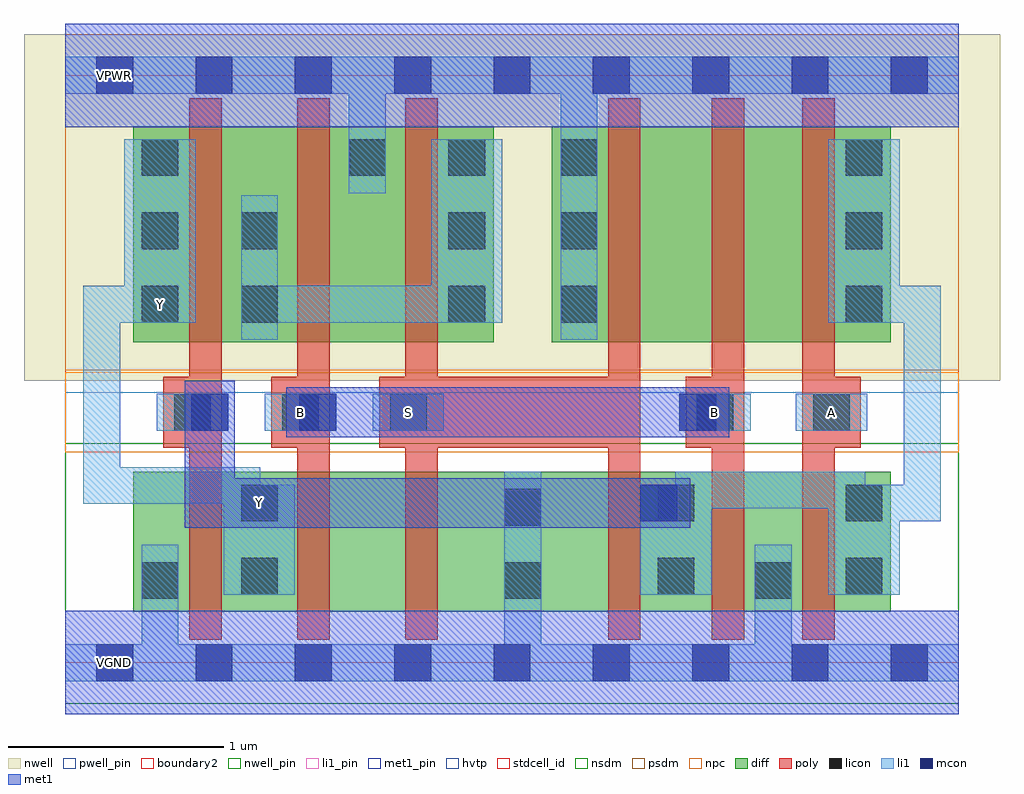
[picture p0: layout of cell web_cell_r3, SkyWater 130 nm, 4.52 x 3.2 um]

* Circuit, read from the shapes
.subckt web_cell_r3 A B S VGND VNB VPB VPWR Y
XM1 Y n1 VGND VNB sky130_fd_pr__nfet_01v8 w=0.65 l=0.15
XM2 n2 B Y VNB sky130_fd_pr__nfet_01v8 w=0.65 l=0.15
XM3 VGND S n2 VNB sky130_fd_pr__nfet_01v8 w=0.65 l=0.15
XM4 n1 S VGND VNB sky130_fd_pr__nfet_01v8 w=0.65 l=0.15
XM5 VGND B n1 VNB sky130_fd_pr__nfet_01v8 w=0.65 l=0.15
XM6 n1 A VGND VNB sky130_fd_pr__nfet_01v8 w=0.65 l=0.15
XM7 n3 n1 Y VPB sky130_fd_pr__pfet_01v8_hvt w=1 l=0.15
XM8 VPWR B n3 VPB sky130_fd_pr__pfet_01v8_hvt w=1 l=0.15
XM9 n3 S VPWR VPB sky130_fd_pr__pfet_01v8_hvt w=1 l=0.15
XM10 n4 S VPWR VPB sky130_fd_pr__pfet_01v8_hvt w=1 l=0.15
XM11 n5 B n4 VPB sky130_fd_pr__pfet_01v8_hvt w=1 l=0.15
XM12 n1 A n5 VPB sky130_fd_pr__pfet_01v8_hvt w=1 l=0.15
.ends

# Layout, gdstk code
import gdstk
lib = gdstk.Library(unit=1e-6, precision=1e-09)
def R(c, l, rs):  # rectangles x0, y0, x1, y1
    for r in rs: c.add(gdstk.rectangle(r[:2], r[2:], *l))
def A(c, l, x, y, w, h, nx, ny, dx, dy):  # array of equal rectangles
    R(c, l, [(x+i*dx, y+j*dy, x+i*dx+w, y+j*dy+h) for i in range(nx) for j in range(ny)])
nwell_pin = (64, 16)
nwell = (64, 20)
diff = (65, 20)
poly = (66, 20)
licon = (66, 44)
li1_pin = (67, 16)
li1 = (67, 20)
mcon = (67, 44)
met1_pin = (68, 16)
met1 = (68, 20)
hvtp = (78, 44)
stdcell_id = (81, 4)
nsdm = (93, 44)
psdm = (94, 20)
npc = (95, 20)
pwell_pin = (122, 16)
boundary2 = (236, 0)

web_cell_r3 = lib.new_cell('web_cell_r3')
R(web_cell_r3, nwell_pin, [(0.145,2.635,0.315,2.805)])
R(web_cell_r3, nwell, [(-0.19,1.305,4.33,2.91)])
R(web_cell_r3, diff, [(0.315,0.235,0.9,0.885), (0.9,0.235,1.4,0.885), (1.4,0.235,2.12,0.885), (2.12,0.235,2.83,0.885), (2.83,0.235,3.28,0.885), (3.28,0.235,3.825,0.885), (0.315,1.485,0.9,2.485), (0.9,1.485,1.4,2.485), (1.4,1.485,1.985,2.485), (2.255,1.485,2.83,2.485), (2.83,1.485,3.28,2.485), (3.28,1.485,3.825,2.485)])
A(web_cell_r3, poly, 0.575, 0.105, 0.15, 2.51, 3, 1, 0.5, 0)
A(web_cell_r3, poly, 0.455, 0.995, 0.27, 0.33, 3, 1, 0.5, 0)
R(web_cell_r3, poly, [(2.515,0.105,2.665,2.615), (2.995,0.105,3.145,2.615), (3.415,0.105,3.565,2.615), (1.575,0.995,2.665,1.325), (2.875,0.995,3.145,1.325), (3.415,0.995,3.685,1.325)])
A(web_cell_r3, licon, 0.505, 1.075, 0.17, 0.17, 3, 1, 0.5, 0)
A(web_cell_r3, licon, 0.355, 1.575, 0.17, 0.17, 1, 3, 0, 0.34)
A(web_cell_r3, licon, 1.775, 1.575, 0.17, 0.17, 1, 3, 0, 0.34)
A(web_cell_r3, licon, 2.295, 1.575, 0.17, 0.17, 1, 3, 0, 0.34)
A(web_cell_r3, licon, 3.615, 1.575, 0.17, 0.17, 1, 3, 0, 0.34)
R(web_cell_r3, licon, [(0.355,0.295,0.525,0.465), (2.035,0.295,2.205,0.465), (3.195,0.295,3.365,0.465), (0.815,0.315,0.985,0.485), (2.745,0.315,2.915,0.485), (3.615,0.315,3.785,0.485), (2.035,0.635,2.205,0.805), (0.815,0.655,0.985,0.825), (2.745,0.655,2.915,0.825), (3.615,0.655,3.785,0.825), (2.925,1.075,3.095,1.245), (3.465,1.075,3.635,1.245), (0.815,1.575,0.985,1.745), (0.815,1.915,0.985,2.085), (1.315,2.255,1.485,2.425)])
R(web_cell_r3, li1_pin, [(0.815,0.655,0.985,0.825), (1.005,1.075,1.175,1.245), (1.505,1.075,1.675,1.245), (2.925,1.075,3.095,1.245), (3.465,1.075,3.635,1.245), (0.355,1.575,0.525,1.745)])
A(web_cell_r3, li1, 0.425, 1.075, 0.33, 0.17, 3, 1, 0.5, 0)
R(web_cell_r3, li1, [(0,-0.085,4.14,0.085), (0.355,-0.085,0.525,0.545), (2.035,-0.085,2.205,0.545), (3.195,-0.085,3.365,0.545), (2.035,0.295,2.205,0.885), (0.735,0.315,1.065,0.825), (2.665,0.315,2.995,0.825), (3.535,0.315,3.865,0.825), (0.735,0.655,1.065,0.825), (0.735,0.655,0.905,0.905), (2.665,0.655,2.995,0.825), (2.825,0.655,2.995,0.885), (3.535,0.655,3.865,0.825), (3.535,0.655,3.705,0.885), (3.695,0.655,4.055,0.825), (3.705,0.655,3.865,0.825), (3.705,0.655,3.865,0.825), (3.705,0.655,3.865,0.825), (3.705,0.655,3.865,0.825), (3.705,0.655,3.865,0.825), (3.705,0.655,3.865,0.825), (3.705,0.655,3.865,0.825), (3.705,0.655,3.865,0.825), (3.705,0.655,3.865,0.825), (3.705,0.655,3.865,0.825), (3.705,0.655,3.865,0.825), (3.705,0.655,3.865,0.825), (3.705,0.655,3.865,0.825), (3.705,0.655,3.865,0.825), (3.865,0.655,3.885,0.825), (3.865,0.655,3.885,0.825), (3.865,0.655,3.885,0.825), (3.865,0.655,3.885,0.825), (3.865,0.655,3.885,0.825), (3.865,0.655,3.885,0.825), (3.865,0.655,3.885,0.825), (3.865,0.655,3.885,0.825), (3.865,0.655,3.885,0.825), (3.865,0.655,3.885,0.825), (3.865,0.655,3.885,0.825), (3.865,0.655,3.885,0.825), (3.865,0.655,3.885,0.825), (3.865,0.655,3.885,0.825), (3.865,0.655,3.885,0.825), (3.865,0.655,3.885,0.825), (3.885,0.655,4.055,1.745), (2.825,0.715,3.705,0.885), (3.705,0.715,3.865,0.825), (3.705,0.715,3.865,0.825), (3.705,0.715,3.865,0.825), (3.705,0.715,3.865,0.825), (3.705,0.715,3.865,0.825), (3.705,0.715,3.865,0.825), (3.705,0.715,3.865,0.825), (3.705,0.715,3.865,0.825), (3.705,0.715,3.865,0.825), (3.705,0.715,3.865,0.825), (3.705,0.715,3.865,0.825), (3.705,0.715,3.865,0.825), (3.705,0.715,3.865,0.825), (3.705,0.715,3.865,0.825), (3.705,0.715,3.865,0.825), (3.705,0.715,3.865,0.825), (3.705,0.715,3.865,0.825), (3.705,0.715,3.865,0.825), (3.865,0.715,3.885,0.825), (3.865,0.715,3.885,0.825), (3.865,0.715,3.885,0.825), (3.865,0.715,3.885,0.825), (3.865,0.715,3.885,0.825), (3.865,0.715,3.885,0.825), (3.865,0.715,3.885,0.825), (3.865,0.715,3.885,0.825), (0.085,0.735,0.255,1.745), (0.085,0.735,0.905,0.905), (2.845,1.075,3.175,1.245), (3.385,1.075,3.715,1.245), (0.815,1.495,0.985,1.825), (2.295,1.495,2.465,2.085), (0.085,1.575,0.445,1.745), (0.255,1.575,0.275,1.745), (0.255,1.575,0.275,1.745), (0.255,1.575,0.275,1.745), (0.255,1.575,0.275,1.745), (0.255,1.575,0.275,1.745), (0.255,1.575,0.275,1.745), (0.255,1.575,0.275,1.745), (0.255,1.575,0.275,1.745), (0.275,1.575,0.605,1.745), (0.275,1.575,0.605,2.085), (0.815,1.575,0.985,2.165), (0.815,1.575,1.865,1.745), (1.695,1.575,2.025,1.745), (1.695,1.575,2.025,2.085), (3.535,1.575,3.865,1.745), (3.535,1.575,3.865,2.085), (3.695,1.575,4.055,1.745), (3.865,1.575,3.885,1.745), (3.865,1.575,3.885,1.745), (3.865,1.575,3.885,1.745), (3.865,1.575,3.885,1.745), (3.865,1.575,3.885,1.745), (3.865,1.575,3.885,1.745), (3.865,1.575,3.885,1.745), (3.865,1.575,3.885,1.745), (2.295,1.835,2.465,2.425), (0.275,1.915,0.605,2.425), (1.695,1.915,2.025,2.425), (3.535,1.915,3.865,2.425), (2.295,2.085,2.465,2.175), (2.295,2.085,2.465,2.175), (2.295,2.085,2.465,2.175), (2.295,2.085,2.465,2.175), (1.315,2.175,1.485,2.805), (2.295,2.175,2.465,2.805), (0,2.635,4.14,2.805)])
A(web_cell_r3, mcon, 0.145, -0.085, 0.17, 0.17, 9, 2, 0.46, 2.72)
R(web_cell_r3, mcon, [(2.665,0.655,2.835,0.825), (0.585,1.075,0.755,1.245), (1.085,1.075,1.255,1.245), (2.845,1.075,3.015,1.245)])
R(web_cell_r3, met1_pin, [(0.145,-0.085,0.315,0.085), (0.145,2.635,0.315,2.805)])
R(web_cell_r3, met1, [(0,-0.24,4.14,0.24), (0.555,0.625,0.785,1.275), (0.555,0.625,2.865,0.855), (2.605,0.625,2.895,0.855), (0.555,1.015,0.785,1.305), (1.025,1.045,1.315,1.275), (1.055,1.045,3.045,1.275), (2.785,1.045,3.075,1.275), (0,2.48,4.14,2.96)])
R(web_cell_r3, hvtp, [(0,1.25,4.14,2.72)])
R(web_cell_r3, stdcell_id, [(0,0,4.14,2.72)])
R(web_cell_r3, nsdm, [(0,-0.19,4.14,1.015)])
R(web_cell_r3, psdm, [(0,1.355,4.14,2.91)])
R(web_cell_r3, npc, [(0,0.975,4.14,1.345)])
R(web_cell_r3, pwell_pin, [(0.145,-0.085,0.315,0.085)])
R(web_cell_r3, boundary2, [(0,0,4.14,2.72)])
web_cell_r3.add(gdstk.Label('A', (3.55,1.16), layer=67, texttype=5))
web_cell_r3.add(gdstk.Label('B', (1.09,1.16), layer=67, texttype=5))
web_cell_r3.add(gdstk.Label('B', (3.01,1.16), layer=67, texttype=5))
web_cell_r3.add(gdstk.Label('S', (1.59,1.16), layer=67, texttype=5))
web_cell_r3.add(gdstk.Label('Y', (0.9,0.74), layer=67, texttype=5))
web_cell_r3.add(gdstk.Label('Y', (0.44,1.66), layer=67, texttype=5))
web_cell_r3.add(gdstk.Label('VGND', (0.23,0), layer=68, texttype=5))
web_cell_r3.add(gdstk.Label('VPWR', (0.23,2.72), layer=68, texttype=5))
web_cell_r3.add(gdstk.Label('VPB', (0.23,2.72), layer=64, texttype=5))
web_cell_r3.add(gdstk.Label('VNB', (0.23,0), layer=64, texttype=59))

lib.write_gds('web_cell_r3.gds')
